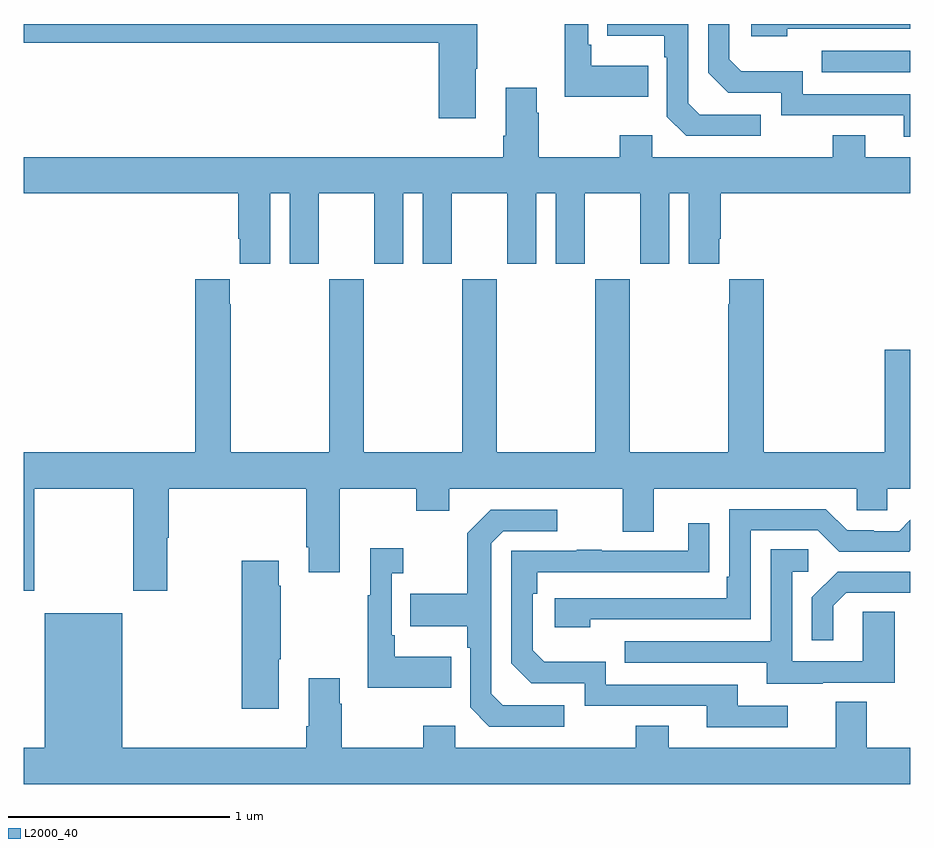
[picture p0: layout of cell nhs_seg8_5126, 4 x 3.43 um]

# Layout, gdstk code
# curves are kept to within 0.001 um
import gdstk
lib = gdstk.Library(unit=1e-6, precision=1e-09)
def R(c, l, rs):  # rectangles x0, y0, x1, y1
    for r in rs: c.add(gdstk.rectangle(r[:2], r[2:], *l))
def P(c, l, *ps):  # polygons
    for p in ps: c.add(gdstk.Polygon(p, *l))
L2000_40 = (2000, 40)

nhs_seg8_5126 = lib.new_cell('nhs_seg8_5126')
R(nhs_seg8_5126, L2000_40, [(422.599,1147.683,423,1147.779)])
P(nhs_seg8_5126, L2000_40, [(421.817,1147.711),(421.561,1147.711),(421.561,1147.807),(421.548,1147.807),(421.548,1147.9),(421.44,1147.9),(421.44,1147.571),(421.817,1147.571)],
  [(422.326,1147.491),(422.049,1147.491),(421.998,1147.542),(421.998,1147.9),(421.633,1147.9),(421.633,1147.847),(421.89,1147.847),(421.89,1147.751),(421.902,1147.751),(421.902,1147.482),(421.989,1147.395),(422.326,1147.395)],
  [(423,1147.584),(422.514,1147.584),(422.514,1147.687),(422.237,1147.687),(422.184,1147.74),(422.184,1147.9),(422.088,1147.9),(422.088,1147.68),(422.178,1147.59),(422.418,1147.59),(422.418,1147.488),(422.969,1147.488),(422.969,1147.392),(423,1147.392)],
  [(422.444,1147.878),(423,1147.878),(423,1147.9),(422.283,1147.9),(422.283,1147.844),(422.444,1147.844)],
  [(421.039,1147.699),(421.047,1147.699),(421.047,1147.9),(419,1147.9),(419,1147.816),(420.872,1147.816),(420.872,1147.476),(421.039,1147.476)],
  [(420.112,1147.136),(420.2,1147.136),(420.2,1146.819),(420.331,1146.819),(420.331,1147.136),(420.581,1147.136),(420.581,1146.819),(420.712,1146.819),(420.712,1147.136),(420.8,1147.136),(420.8,1146.819),(420.931,1146.819),(420.931,1147.136),(421.181,1147.136),(421.181,1146.819),(421.312,1146.819),(421.312,1147.136),(421.4,1147.136),(421.4,1146.819),(421.531,1146.819),(421.531,1147.136),(421.781,1147.136),(421.781,1146.819),(421.912,1146.819),(421.912,1147.136),(422,1147.136),(422,1146.819),(422.137,1146.819),(422.137,1146.931),(422.144,1146.931),(422.144,1147.136),(423,1147.136),(423,1147.3),(422.797,1147.3),(422.797,1147.399),(422.65,1147.399),(422.65,1147.3),(421.836,1147.3),(421.836,1147.399),(421.69,1147.399),(421.69,1147.3),(421.323,1147.3),(421.323,1147.499),(421.315,1147.499),(421.315,1147.612),(421.175,1147.612),(421.175,1147.396),(421.163,1147.396),(421.163,1147.3),(419,1147.3),(419,1147.136),(419.969,1147.136),(419.969,1146.931),(419.975,1146.931),(419.975,1146.819),(420.112,1146.819)],
  [(419.049,1145.804),(419.494,1145.804),(419.494,1145.343),(419.649,1145.343),(419.649,1145.582),(419.654,1145.582),(419.654,1145.804),(420.275,1145.804),(420.275,1145.539),(420.287,1145.539),(420.287,1145.427),(420.427,1145.427),(420.427,1145.804),(420.772,1145.804),(420.772,1145.705),(420.919,1145.705),(420.919,1145.804),(421.703,1145.804),(421.703,1145.61),(421.843,1145.61),(421.843,1145.804),(422.757,1145.804),(422.757,1145.706),(422.895,1145.706),(422.895,1145.804),(423,1145.804),(423,1146.43),(422.885,1146.43),(422.885,1145.968),(422.339,1145.968),(422.339,1146.748),(422.183,1146.748),(422.183,1146.635),(422.179,1146.635),(422.179,1145.968),(421.734,1145.968),(421.734,1146.748),(421.579,1146.748),(421.579,1145.968),(421.134,1145.968),(421.134,1146.748),(420.979,1146.748),(420.979,1145.968),(420.534,1145.968),(420.534,1146.748),(420.379,1146.748),(420.379,1145.968),(419.934,1145.968),(419.934,1146.635),(419.929,1146.635),(419.929,1146.748),(419.774,1146.748),(419.774,1145.968),(419,1145.968),(419,1145.343),(419.049,1145.343)],
  [(421.556,1145.214),(422.28,1145.214),(422.28,1145.616),(422.583,1145.616),(422.679,1145.52),(422.994,1145.52),(423,1145.526),(423,1145.664),(422.949,1145.613),(422.834,1145.613),(422.834,1145.616),(422.715,1145.616),(422.619,1145.712),(422.184,1145.712),(422.184,1145.407),(422.171,1145.407),(422.171,1145.31),(421.395,1145.31),(421.395,1145.18),(421.556,1145.18)],
  [(421.438,1144.827),(421.161,1144.827),(421.11,1144.878),(421.11,1145.559),(421.164,1145.613),(421.408,1145.613),(421.408,1145.709),(421.107,1145.709),(421.002,1145.603),(421.002,1145.331),(420.745,1145.331),(420.745,1145.183),(421.002,1145.183),(421.002,1145.087),(421.014,1145.087),(421.014,1144.818),(421.101,1144.731),(421.438,1144.731)],
  [(422.446,1144.824),(422.221,1144.824),(422.221,1144.92),(421.626,1144.92),(421.626,1145.023),(421.349,1145.023),(421.296,1145.076),(421.296,1145.33),(421.316,1145.33),(421.316,1145.427),(422.093,1145.428),(422.093,1145.647),(421.997,1145.647),(421.997,1145.523),(421.607,1145.523),(421.607,1145.528),(421.495,1145.528),(421.495,1145.523),(421.2,1145.523),(421.2,1145.016),(421.29,1144.926),(421.53,1144.926),(421.53,1144.824),(422.081,1144.824),(422.081,1144.728),(422.446,1144.728)],
  [(420.929,1145.047),(420.673,1145.047),(420.673,1145.143),(420.66,1145.143),(420.66,1145.423),(420.712,1145.423),(420.712,1145.536),(420.563,1145.536),(420.563,1145.323),(420.552,1145.323),(420.552,1144.907),(420.929,1144.907)],
  [(422.605,1144.929),(422.929,1144.929),(422.929,1145.249),(422.784,1145.249),(422.784,1145.025),(422.466,1145.025),(422.466,1145.43),(422.539,1145.43),(422.539,1145.531),(422.37,1145.531),(422.37,1145.115),(421.711,1145.115),(421.711,1145.019),(422.351,1145.019),(422.351,1144.925),(422.605,1144.925)],
  [(420.151,1145.035),(420.159,1145.035),(420.159,1145.366),(420.151,1145.366),(420.151,1145.479),(419.984,1145.479),(419.984,1144.812),(420.151,1144.812)],
  [(422.653,1145.277),(422.71,1145.334),(423,1145.334),(423,1145.43),(422.672,1145.43),(422.556,1145.314),(422.556,1145.121),(422.653,1145.121)],
  [(423,1144.636),(422.803,1144.636),(422.803,1144.844),(422.663,1144.844),(422.663,1144.636),(421.909,1144.636),(421.909,1144.735),(421.762,1144.735),(421.762,1144.636),(420.948,1144.636),(420.948,1144.735),(420.802,1144.735),(420.802,1144.636),(420.435,1144.636),(420.435,1144.835),(420.427,1144.835),(420.427,1144.948),(420.287,1144.948),(420.287,1144.732),(420.275,1144.732),(420.275,1144.636),(419.446,1144.636),(419.446,1145.242),(419.096,1145.242),(419.096,1144.636),(419,1144.636),(419,1144.472),(423,1144.472)])

lib.write_gds('nhs_seg8_5126.gds')
